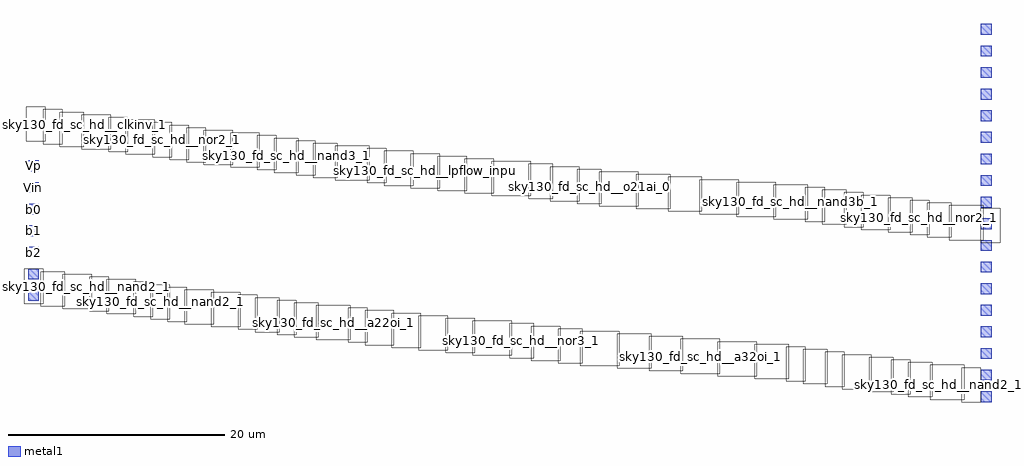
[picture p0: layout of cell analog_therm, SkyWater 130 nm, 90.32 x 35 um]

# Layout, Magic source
magic
tech sky130A
magscale 1 2
<< metal1 >>
rect 0 0 200 200
rect 0 -400 200 -200
rect 0 -800 200 -600
rect 0 -1200 200 -1000
rect 0 -1600 200 -1400
rect 0 -2000 200 -1800
rect 0 -2400 200 -2200
use sky130_fd_sc_hd__a22oi_1  sky130_fd_sc_hd__a22oi_1_0 $PDKPATH/libs.ref/sky130_fd_sc_hd/mag
transform 1 0 5370 0 1 -3072
box -38 -48 590 592
use sky130_fd_sc_hd__a32oi_1  sky130_fd_sc_hd__a32oi_1_0 $PDKPATH/libs.ref/sky130_fd_sc_hd/mag
transform 1 0 12120 0 1 -3696
box -38 -48 682 592
use sky130_fd_sc_hd__a211oi_1  sky130_fd_sc_hd__a211oi_1_0 $PDKPATH/libs.ref/sky130_fd_sc_hd/mag
transform 1 0 11530 0 1 -3648
box -38 -48 590 592
use sky130_fd_sc_hd__and2_0  sky130_fd_sc_hd__and2_0_0 $PDKPATH/libs.ref/sky130_fd_sc_hd/mag
transform 1 0 3432 0 1 -2832
box -38 -48 498 592
use sky130_fd_sc_hd__lpflow_inputiso1p_1  sky130_fd_sc_hd__lpflow_inputiso1p_1_0 $PDKPATH/libs.ref/sky130_fd_sc_hd/mag
transform 1 0 6772 0 1 -3216
box -38 -48 498 592
use sky130_fd_sc_hd__nand2_1  sky130_fd_sc_hd__nand2_1_0 $PDKPATH/libs.ref/sky130_fd_sc_hd/mag
transform 1 0 -38 0 1 -2400
box -38 -48 314 592
use sky130_fd_sc_hd__nand2_1  sky130_fd_sc_hd__nand2_1_1
transform 1 0 1180 0 1 -2544
box -38 -48 314 592
use sky130_fd_sc_hd__nand2_1  sky130_fd_sc_hd__nand2_1_2
transform 1 0 2306 0 1 -2688
box -38 -48 314 592
use sky130_fd_sc_hd__nand2_1  sky130_fd_sc_hd__nand2_1_3
transform 1 0 2620 0 1 -2736
box -38 -48 314 592
use sky130_fd_sc_hd__nand2_1  sky130_fd_sc_hd__nand2_1_4
transform 1 0 3930 0 1 -2880
box -38 -48 314 592
use sky130_fd_sc_hd__nand2_1  sky130_fd_sc_hd__nand2_1_5
transform 1 0 14074 0 1 -3840
box -38 -48 314 592
use sky130_fd_sc_hd__nand2_1  sky130_fd_sc_hd__nand2_1_6
transform 1 0 14794 0 1 -3936
box -38 -48 314 592
use sky130_fd_sc_hd__nand2_1  sky130_fd_sc_hd__nand2_1_7
transform 1 0 17322 0 1 -4224
box -38 -48 314 592
use sky130_fd_sc_hd__nand2b_1  sky130_fd_sc_hd__nand2b_1_0 $PDKPATH/libs.ref/sky130_fd_sc_hd/mag
transform 1 0 7768 0 1 -3312
box -38 -48 498 592
use sky130_fd_sc_hd__nand3_1  sky130_fd_sc_hd__nand3_1_0 $PDKPATH/libs.ref/sky130_fd_sc_hd/mag
transform 1 0 276 0 1 -2448
box -38 -48 406 592
use sky130_fd_sc_hd__nand3_1  sky130_fd_sc_hd__nand3_1_1
transform 1 0 4244 0 1 -2928
box -38 -48 406 592
use sky130_fd_sc_hd__nand3b_1  sky130_fd_sc_hd__nand3b_1_0 $PDKPATH/libs.ref/sky130_fd_sc_hd/mag
transform 1 0 13484 0 1 -3792
box -38 -48 590 592
use sky130_fd_sc_hd__nand4_1  sky130_fd_sc_hd__nand4_1_0 $PDKPATH/libs.ref/sky130_fd_sc_hd/mag
transform 1 0 682 0 1 -2496
box -38 -48 498 592
use sky130_fd_sc_hd__nand4_1  sky130_fd_sc_hd__nand4_1_1
transform 1 0 1494 0 1 -2592
box -38 -48 498 592
use sky130_fd_sc_hd__nand4_1  sky130_fd_sc_hd__nand4_1_2
transform 1 0 15108 0 1 -3984
box -38 -48 498 592
use sky130_fd_sc_hd__nor2_1  sky130_fd_sc_hd__nor2_1_0 $PDKPATH/libs.ref/sky130_fd_sc_hd/mag
transform 1 0 1992 0 1 -2640
box -38 -48 314 592
use sky130_fd_sc_hd__nor2_1  sky130_fd_sc_hd__nor2_1_1
transform 1 0 4650 0 1 -2976
box -38 -48 314 592
use sky130_fd_sc_hd__nor2_1  sky130_fd_sc_hd__nor2_1_2
transform 1 0 5960 0 1 -3120
box -38 -48 314 592
use sky130_fd_sc_hd__nor2_1  sky130_fd_sc_hd__nor2_1_3
transform 1 0 16012 0 1 -4080
box -38 -48 314 592
use sky130_fd_sc_hd__nor3_1  sky130_fd_sc_hd__nor3_1_0 $PDKPATH/libs.ref/sky130_fd_sc_hd/mag
transform 1 0 4964 0 1 -3024
box -38 -48 406 592
use sky130_fd_sc_hd__nor3_1  sky130_fd_sc_hd__nor3_1_1
transform 1 0 8948 0 1 -3408
box -38 -48 406 592
use sky130_fd_sc_hd__nor3_1  sky130_fd_sc_hd__nor3_1_2
transform 1 0 14388 0 1 -3888
box -38 -48 406 592
use sky130_fd_sc_hd__nor4_1  sky130_fd_sc_hd__nor4_1_0 $PDKPATH/libs.ref/sky130_fd_sc_hd/mag
transform 1 0 2934 0 1 -2784
box -38 -48 498 592
use sky130_fd_sc_hd__nor4_1  sky130_fd_sc_hd__nor4_1_1
transform 1 0 7270 0 1 -3264
box -38 -48 498 592
use sky130_fd_sc_hd__nor4_1  sky130_fd_sc_hd__nor4_1_2
transform 1 0 9354 0 1 -3456
box -38 -48 498 592
use sky130_fd_sc_hd__nor4b_1  sky130_fd_sc_hd__nor4b_1_0 $PDKPATH/libs.ref/sky130_fd_sc_hd/mag
transform 1 0 8266 0 1 -3360
box -38 -48 682 592
use sky130_fd_sc_hd__o21ai_0  sky130_fd_sc_hd__o21ai_0_0 $PDKPATH/libs.ref/sky130_fd_sc_hd/mag
transform 1 0 9852 0 1 -3504
box -38 -48 406 592
use sky130_fd_sc_hd__o21ai_0  sky130_fd_sc_hd__o21ai_0_1
transform 1 0 15606 0 1 -4032
box -38 -48 406 592
use sky130_fd_sc_hd__o21ai_0  sky130_fd_sc_hd__o21ai_0_2
transform 1 0 16326 0 1 -4128
box -38 -48 406 592
use sky130_fd_sc_hd__o31ai_1  sky130_fd_sc_hd__o31ai_1_0 $PDKPATH/libs.ref/sky130_fd_sc_hd/mag
transform 1 0 16732 0 1 -4176
box -38 -48 590 592
use sky130_fd_sc_hd__o2111ai_1  sky130_fd_sc_hd__o2111ai_1_0 $PDKPATH/libs.ref/sky130_fd_sc_hd/mag
transform 1 0 12802 0 1 -3744
box -38 -48 682 592
use sky130_fd_sc_hd__or3_1  sky130_fd_sc_hd__or3_1_0 $PDKPATH/libs.ref/sky130_fd_sc_hd/mag
transform 1 0 6274 0 1 -3168
box -38 -48 498 592
use sky130_fd_sc_hd__or3b_1  sky130_fd_sc_hd__or3b_1_0 $PDKPATH/libs.ref/sky130_fd_sc_hd/mag
transform 1 0 10258 0 1 -3552
box -38 -48 682 592
use sky130_fd_sc_hd__or4_1  sky130_fd_sc_hd__or4_1_0 $PDKPATH/libs.ref/sky130_fd_sc_hd/mag
transform 1 0 10940 0 1 -3600
box -38 -48 590 592
use sky130_fd_sc_hd__clkinv_1  x0 $PDKPATH/libs.ref/sky130_fd_sc_hd/mag
transform 1 0 0 0 1 600
box -38 -48 314 592
use sky130_fd_sc_hd__nand2_1  x1
transform 1 0 314 0 1 552
box -38 -48 314 592
use sky130_fd_sc_hd__nand3_1  x2
transform 1 0 628 0 1 504
box -38 -48 406 592
use sky130_fd_sc_hd__nand4_1  x3
transform 1 0 1034 0 1 456
box -38 -48 498 592
use sky130_fd_sc_hd__nand2_1  x4
transform 1 0 1532 0 1 408
box -38 -48 314 592
use sky130_fd_sc_hd__nand4_1  x5
transform 1 0 1846 0 1 360
box -38 -48 498 592
use sky130_fd_sc_hd__nor2_1  x6
transform 1 0 2344 0 1 312
box -38 -48 314 592
use sky130_fd_sc_hd__nand2_1  x7
transform 1 0 2658 0 1 264
box -38 -48 314 592
use sky130_fd_sc_hd__nand2_1  x8
transform 1 0 2972 0 1 216
box -38 -48 314 592
use sky130_fd_sc_hd__nor4_1  x9
transform 1 0 3286 0 1 168
box -38 -48 498 592
use sky130_fd_sc_hd__and2_0  x10
transform 1 0 3784 0 1 120
box -38 -48 498 592
use sky130_fd_sc_hd__nand2_1  x11
transform 1 0 4282 0 1 72
box -38 -48 314 592
use sky130_fd_sc_hd__nand3_1  x12
transform 1 0 4596 0 1 24
box -38 -48 406 592
use sky130_fd_sc_hd__nor2_1  x13
transform 1 0 5002 0 1 -24
box -38 -48 314 592
use sky130_fd_sc_hd__nor3_1  x14
transform 1 0 5316 0 1 -72
box -38 -48 406 592
use sky130_fd_sc_hd__a22oi_1  x15
transform 1 0 5722 0 1 -120
box -38 -48 590 592
use sky130_fd_sc_hd__nor2_1  x16
transform 1 0 6312 0 1 -168
box -38 -48 314 592
use sky130_fd_sc_hd__or3_1  x17
transform 1 0 6626 0 1 -216
box -38 -48 498 592
use sky130_fd_sc_hd__lpflow_inputiso1p_1  x18
transform 1 0 7124 0 1 -264
box -38 -48 498 592
use sky130_fd_sc_hd__nor4_1  x19
transform 1 0 7622 0 1 -312
box -38 -48 498 592
use sky130_fd_sc_hd__nand2b_1  x20
transform 1 0 8120 0 1 -360
box -38 -48 498 592
use sky130_fd_sc_hd__nor4b_1  x21
transform 1 0 8618 0 1 -408
box -38 -48 682 592
use sky130_fd_sc_hd__nor3_1  x22
transform 1 0 9300 0 1 -456
box -38 -48 406 592
use sky130_fd_sc_hd__nor4_1  x23
transform 1 0 9706 0 1 -504
box -38 -48 498 592
use sky130_fd_sc_hd__o21ai_0  x24
transform 1 0 10204 0 1 -552
box -38 -48 406 592
use sky130_fd_sc_hd__or3b_1  x25
transform 1 0 10610 0 1 -600
box -38 -48 682 592
use sky130_fd_sc_hd__or4_1  x26
transform 1 0 11292 0 1 -648
box -38 -48 590 592
use sky130_fd_sc_hd__a211oi_1  x27
transform 1 0 11882 0 1 -696
box -38 -48 590 592
use sky130_fd_sc_hd__a32oi_1  x28
transform 1 0 12472 0 1 -744
box -38 -48 682 592
use sky130_fd_sc_hd__o2111ai_1  x29
transform 1 0 13154 0 1 -792
box -38 -48 682 592
use sky130_fd_sc_hd__nand3b_1  x30
transform 1 0 13836 0 1 -840
box -38 -48 590 592
use sky130_fd_sc_hd__nand2_1  x31
transform 1 0 14426 0 1 -888
box -38 -48 314 592
use sky130_fd_sc_hd__nor3_1  x32
transform 1 0 14740 0 1 -936
box -38 -48 406 592
use sky130_fd_sc_hd__nand2_1  x33
transform 1 0 15146 0 1 -984
box -38 -48 314 592
use sky130_fd_sc_hd__nand4_1  x34
transform 1 0 15460 0 1 -1032
box -38 -48 498 592
use sky130_fd_sc_hd__o21ai_0  x35
transform 1 0 15958 0 1 -1080
box -38 -48 406 592
use sky130_fd_sc_hd__nor2_1  x36
transform 1 0 16364 0 1 -1128
box -38 -48 314 592
use sky130_fd_sc_hd__o21ai_0  x37
transform 1 0 16678 0 1 -1176
box -38 -48 406 592
use sky130_fd_sc_hd__o31ai_1  x38
transform 1 0 17084 0 1 -1224
box -38 -48 590 592
use sky130_fd_sc_hd__nand2_1  x39
transform 1 0 17674 0 1 -1272
box -38 -48 314 592
use Analog  x40
transform 1 0 17636 0 1 2528
box 0 -6800 200 200
<< labels >>
flabel metal1 0 0 200 200 0 FreeSans 256 0 0 0 Vp
port 0 nsew
flabel metal1 0 -400 200 -200 0 FreeSans 256 0 0 0 Vin
port 1 nsew
flabel metal1 0 -800 200 -600 0 FreeSans 256 0 0 0 b0
port 2 nsew
flabel metal1 0 -1200 200 -1000 0 FreeSans 256 0 0 0 b1
port 3 nsew
flabel metal1 0 -1600 200 -1400 0 FreeSans 256 0 0 0 b2
port 4 nsew
flabel metal1 0 -2000 200 -1800 0 FreeSans 256 0 0 0 b3
port 5 nsew
flabel metal1 0 -2400 200 -2200 0 FreeSans 256 0 0 0 Vn
port 6 nsew
<< end >>

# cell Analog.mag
magic
tech sky130A
<< metal1 >>
rect 0 0 100 100
rect 0 -200 100 -100
rect 0 -400 100 -300
rect 0 -600 100 -500
rect 0 -800 100 -700
rect 0 -1000 100 -900
rect 0 -1200 100 -1100
rect 0 -1400 100 -1300
rect 0 -1600 100 -1500
rect 0 -1800 100 -1700
rect 0 -2000 100 -1900
rect 0 -2200 100 -2100
rect 0 -2400 100 -2300
rect 0 -2600 100 -2500
rect 0 -2800 100 -2700
rect 0 -3000 100 -2900
rect 0 -3200 100 -3100
rect 0 -3400 100 -3300
<< labels >>
flabel metal1 0 0 100 100 0 FreeSans 128 0 0 0 Vp
port 0 nsew
flabel metal1 0 -200 100 -100 0 FreeSans 128 0 0 0 Vin
port 1 nsew
flabel metal1 0 -400 100 -300 0 FreeSans 128 0 0 0 V1
port 2 nsew
flabel metal1 0 -600 100 -500 0 FreeSans 128 0 0 0 V2
port 3 nsew
flabel metal1 0 -800 100 -700 0 FreeSans 128 0 0 0 V3
port 4 nsew
flabel metal1 0 -1000 100 -900 0 FreeSans 128 0 0 0 V4
port 5 nsew
flabel metal1 0 -1200 100 -1100 0 FreeSans 128 0 0 0 V5
port 6 nsew
flabel metal1 0 -1400 100 -1300 0 FreeSans 128 0 0 0 V6
port 7 nsew
flabel metal1 0 -1600 100 -1500 0 FreeSans 128 0 0 0 V7
port 8 nsew
flabel metal1 0 -1800 100 -1700 0 FreeSans 128 0 0 0 V8
port 9 nsew
flabel metal1 0 -2000 100 -1900 0 FreeSans 128 0 0 0 V9
port 10 nsew
flabel metal1 0 -2200 100 -2100 0 FreeSans 128 0 0 0 V10
port 11 nsew
flabel metal1 0 -2400 100 -2300 0 FreeSans 128 0 0 0 V11
port 12 nsew
flabel metal1 0 -2600 100 -2500 0 FreeSans 128 0 0 0 V12
port 13 nsew
flabel metal1 0 -2800 100 -2700 0 FreeSans 128 0 0 0 V13
port 14 nsew
flabel metal1 0 -3000 100 -2900 0 FreeSans 128 0 0 0 V14
port 15 nsew
flabel metal1 0 -3200 100 -3100 0 FreeSans 128 0 0 0 V15
port 16 nsew
flabel metal1 0 -3400 100 -3300 0 FreeSans 128 0 0 0 Vn
port 17 nsew
<< end >>
